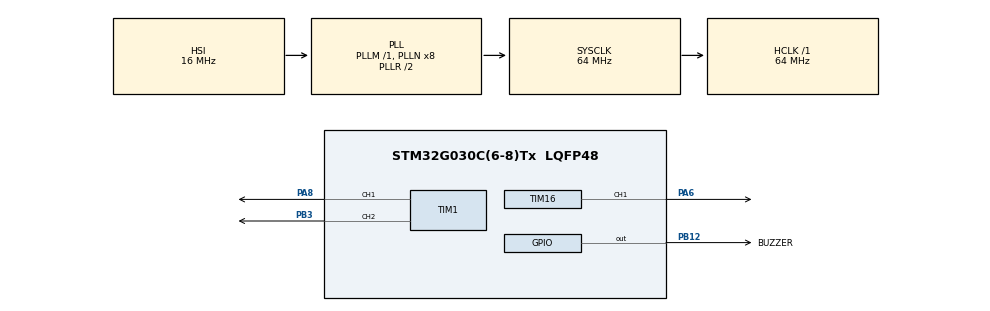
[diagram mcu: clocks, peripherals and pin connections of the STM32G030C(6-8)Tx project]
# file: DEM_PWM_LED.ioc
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Mcu.Family=STM32G0
Mcu.Name=STM32G030C(6-8)Tx
Mcu.Package=LQFP48
PA6.Signal=S_TIM16_CH1
PA8.Signal=S_TIM1_CH1
PB12.GPIO_Label=BUZZER
PB12.Signal=GPIO_Output
PB3.Signal=S_TIM1_CH2
PC14-OSC32_IN\ (PC14).Mode=LSE-External-Oscillator
PC14-OSC32_IN\ (PC14).Signal=RCC_OSC32_IN
PC15-OSC32_OUT\ (PC15).Mode=LSE-External-Oscillator
PC15-OSC32_OUT\ (PC15).Signal=RCC_OSC32_OUT
PF0-OSC_IN\ (PF0).Mode=HSE-External-Oscillator
PF0-OSC_IN\ (PF0).Signal=RCC_OSC_IN
PF1-OSC_OUT\ (PF1).Mode=HSE-External-Oscillator
PF1-OSC_OUT\ (PF1).Signal=RCC_OSC_OUT
ProjectManager.HeapSize=0x200
ProjectManager.StackSize=0x400
ProjectManager.TargetToolchain=STM32CubeIDE
RCC.ADCFreq_Value=64000000
RCC.AHBFreq_Value=64000000
RCC.CortexFreq_Value=64000000
RCC.EXTERNAL_CLOCK_VALUE=12288000
RCC.HCLKFreq_Value=64000000
RCC.HSE_VALUE=8000000
RCC.HSI_VALUE=16000000
RCC.SYSCLKFreq_VALUE=64000000
RCC.SYSCLKSource=RCC_SYSCLKSOURCE_PLLCLK
RCC.VCOOutputFreq_Value=128000000
SH.S_TIM16_CH1.0=TIM16_CH1,PWM Generation1 CH1
SH.S_TIM1_CH1.0=TIM1_CH1,PWM Generation1 CH1
SH.S_TIM1_CH2.0=TIM1_CH2,PWM Generation2 CH2
TIM1.Channel-PWM\ Generation1\ CH1=TIM_CHANNEL_1
TIM1.Channel-PWM\ Generation2\ CH2=TIM_CHANNEL_2
TIM16.Channel=TIM_CHANNEL_1
TIM16.Period=65535
VP_RTC_VS_RTC_Activate.Mode=RTC_Enabled
VP_TIM16_VS_ClockSourceINT.Mode=Enable_Timer
board=custom

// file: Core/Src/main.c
/* USER CODE BEGIN Header */
/**
  ******************************************************************************
  * @file           : main.c
  * @brief          : Main program body
  ******************************************************************************
  * @attention
  *
  * Copyright (c) 2025 STMicroelectronics.
  * All rights reserved.
  *
  * This software is licensed under terms that can be found in the LICENSE file
  * in the root directory of this software component.
  * If no LICENSE file comes with this software, it is provided AS-IS.
  *
  ******************************************************************************
  */
/* USER CODE END Header */
#include "main.h"

/* USER CODE BEGIN PD */
uint32_t colors[50][3] = {
		   {65535, 0, 0},       // Kırmızı
		    {0, 65535, 0},       // Yeşil
		    {0, 0, 65535},       // Mavi
		    {65535, 65535, 0},   // Sarı
		    {65535, 0, 65535},   // Macenta
		    {0, 65535, 65535},   // Camgöbeği (Cyan)
		    {65535, 65535, 65535}, // Beyaz
		    {0, 0, 0},           // Siyah
		    {32768, 32768, 32768}, // Gri
		    {65535, 42405, 0},   // Turuncu
		    {65535, 49215, 51914}, // Pembe
		    {32768, 0, 32768},   // Mor
		    {0, 0, 32768},       // Lacivert
		    {32768, 32768, 0},   // Zeytin Yeşili
		    {16384, 57669, 53456}, // Turkuaz
		    {65535, 55255, 0},   // Altın
		    {49152, 49152, 49152}, // Gümüş
		    {42405, 10794, 10794}, // Kahverengi
		    {32768, 0, 0},       // Bordo
		    {65535, 46774, 49407}, // Açık Pembe
		    {44461, 55512, 58981}, // Açık Mavi
		    {36936, 62258, 36936}, // Açık Yeşil
		    {65535, 65535, 57669}, // Açık Sarı
		    {56797, 40959, 56797}, // Açık Mor
		    {65535, 54613, 47605}, // Açık Turuncu
		    {54003, 54003, 54003}, // Açık Gri
		    {52506, 34181, 16191}, // Açık Kahverengi
		    {44873, 61937, 61937}, // Açık Turkuaz
		    {48059, 36523, 36523}, // Açık Bordo
		    {35723, 0, 0},       // Koyu Kırmızı
		    {0, 25700, 0},       // Koyu Yeşil
		    {0, 0, 35723},       // Koyu Mavi
		    {52428, 52428, 0},   // Koyu Sarı
		    {26112, 13056, 39205}, // Koyu Mor
		    {0, 52851, 53509},   // Koyu Turkuaz
		    {16384, 16384, 16384}, // Koyu Gri
		    {25700, 17039, 8419}, // Koyu Kahverengi
		    {65535, 35723, 0},   // Koyu Turuncu
		    {57717, 21160, 33037}, // Koyu Pembe
		    {28672, 32768, 36864}, // Füme
		    {58981, 58981, 64250}, // Lavanta
		    {53970, 26985, 7697}, // Çikolata
		    {48316, 46517, 27535}, // Haki
		    {45746, 8296, 8296}, // Kiremit
		    {8296, 45746, 8296}, // Orman Yeşili
		    {11272, 45746, 22102}, // Deniz Mavisi
		    {16678, 26985, 58981}, // Kraliyet Mavisi
		    {55255, 5041, 15729}, // Kızıl
		    {63518, 57825, 51657}, // Şampanya
		    {62965, 62965, 56540}  // Bej
};
/* USER CODE END PD */

RTC_HandleTypeDef hrtc;

TIM_HandleTypeDef htim1;
TIM_HandleTypeDef htim16;

void SystemClock_Config(void);
static void MX_GPIO_Init(void);
static void MX_RTC_Init(void);
static void MX_TIM1_Init(void);
static void MX_TIM16_Init(void);

int main(void)
{

  /* MCU Configuration--------------------------------------------------------*/

  /* Reset of all peripherals, Initializes the Flash interface and the Systick. */
  HAL_Init();

  /* Configure the system clock */
  SystemClock_Config();

  /* Initialize all configured peripherals */
  MX_GPIO_Init();
  MX_RTC_Init();
  MX_TIM1_Init();
  MX_TIM16_Init();
  /* USER CODE BEGIN 2 */
  HAL_TIM_PWM_Start(&htim1, TIM_CHANNEL_1);
  HAL_TIM_PWM_Start(&htim16, TIM_CHANNEL_1);
  HAL_TIM_PWM_Start(&htim1, TIM_CHANNEL_2);
  /* USER CODE END 2 */

  /* Infinite loop */
  /* USER CODE BEGIN WHILE */
  while (1)
  {
	  for (int i = 0; i < 50; i++) {
	         uint32_t red = colors[i][0];   // Kırmızı değeri
	         uint32_t green = colors[i][1]; // Yeşil değeri
	         uint32_t blue = colors[i][2];  // Mavi değeri

	         // PWM sinyallerini ayarla
	         __HAL_TIM_SET_COMPARE(&htim16, TIM_CHANNEL_1, red);   // Kırmızı
	         __HAL_TIM_SET_COMPARE(&htim1, TIM_CHANNEL_1, blue);  // Mavi
	         __HAL_TIM_SET_COMPARE(&htim1, TIM_CHANNEL_2, green); // Yeşil

	         // Belirli bir süre bekle (örneğin, 500 ms)
	         HAL_Delay(500);
	     }

    /* USER CODE END WHILE */

  }
}

void SystemClock_Config(void)
{
  RCC_OscInitTypeDef RCC_OscInitStruct = {0};
  RCC_ClkInitTypeDef RCC_ClkInitStruct = {0};

  /** Configure the main internal regulator output voltage
  */
  HAL_PWREx_ControlVoltageScaling(PWR_REGULATOR_VOLTAGE_SCALE1);

  /** Initializes the RCC Oscillators according to the specified parameters
  * in the RCC_OscInitTypeDef structure.
  */
  RCC_OscInitStruct.OscillatorType = RCC_OSCILLATORTYPE_HSI|RCC_OSCILLATORTYPE_LSI;
  RCC_OscInitStruct.HSIState = RCC_HSI_ON;
  RCC_OscInitStruct.HSIDiv = RCC_HSI_DIV1;
  RCC_OscInitStruct.HSICalibrationValue = RCC_HSICALIBRATION_DEFAULT;
  RCC_OscInitStruct.LSIState = RCC_LSI_ON;
  RCC_OscInitStruct.PLL.PLLState = RCC_PLL_ON;
  RCC_OscInitStruct.PLL.PLLSource = RCC_PLLSOURCE_HSI;
  RCC_OscInitStruct.PLL.PLLM = RCC_PLLM_DIV1;
  RCC_OscInitStruct.PLL.PLLN = 8;
  RCC_OscInitStruct.PLL.PLLP = RCC_PLLP_DIV2;
  RCC_OscInitStruct.PLL.PLLR = RCC_PLLR_DIV2;
  if (HAL_RCC_OscConfig(&RCC_OscInitStruct) != HAL_OK)
  {
    Error_Handler();
  }

  /** Initializes the CPU, AHB and APB buses clocks
  */
  RCC_ClkInitStruct.ClockType = RCC_CLOCKTYPE_HCLK|RCC_CLOCKTYPE_SYSCLK
                              |RCC_CLOCKTYPE_PCLK1;
  RCC_ClkInitStruct.SYSCLKSource = RCC_SYSCLKSOURCE_PLLCLK;
  RCC_ClkInitStruct.AHBCLKDivider = RCC_SYSCLK_DIV1;
  RCC_ClkInitStruct.APB1CLKDivider = RCC_HCLK_DIV1;

  if (HAL_RCC_ClockConfig(&RCC_ClkInitStruct, FLASH_LATENCY_2) != HAL_OK)
  {
    Error_Handler();
  }
}

static void MX_RTC_Init(void)
{

  /** Initialize RTC Only
  */
  hrtc.Instance = RTC;
  hrtc.Init.HourFormat = RTC_HOURFORMAT_24;
  hrtc.Init.AsynchPrediv = 127;
  hrtc.Init.SynchPrediv = 255;
  hrtc.Init.OutPut = RTC_OUTPUT_DISABLE;
  hrtc.Init.OutPutRemap = RTC_OUTPUT_REMAP_NONE;
  hrtc.Init.OutPutPolarity = RTC_OUTPUT_POLARITY_HIGH;
  hrtc.Init.OutPutType = RTC_OUTPUT_TYPE_OPENDRAIN;
  hrtc.Init.OutPutPullUp = RTC_OUTPUT_PULLUP_NONE;
  if (HAL_RTC_Init(&hrtc) != HAL_OK)
  {
    Error_Handler();
  }

}

static void MX_TIM1_Init(void)
{

  TIM_MasterConfigTypeDef sMasterConfig = {0};
  TIM_OC_InitTypeDef sConfigOC = {0};
  TIM_BreakDeadTimeConfigTypeDef sBreakDeadTimeConfig = {0};

  htim1.Instance = TIM1;
  htim1.Init.Prescaler = 0;
  htim1.Init.CounterMode = TIM_COUNTERMODE_UP;
  htim1.Init.Period = 65535;
  htim1.Init.ClockDivision = TIM_CLOCKDIVISION_DIV1;
  htim1.Init.RepetitionCounter = 0;
  htim1.Init.AutoReloadPreload = TIM_AUTORELOAD_PRELOAD_DISABLE;
  if (HAL_TIM_PWM_Init(&htim1) != HAL_OK)
  {
    Error_Handler();
  }
  sMasterConfig.MasterOutputTrigger = TIM_TRGO_RESET;
  sMasterConfig.MasterOutputTrigger2 = TIM_TRGO2_RESET;
  sMasterConfig.MasterSlaveMode = TIM_MASTERSLAVEMODE_DISABLE;
  if (HAL_TIMEx_MasterConfigSynchronization(&htim1, &sMasterConfig) != HAL_OK)
  {
    Error_Handler();
  }
  sConfigOC.OCMode = TIM_OCMODE_PWM1;
  sConfigOC.Pulse = 0;
  sConfigOC.OCPolarity = TIM_OCPOLARITY_HIGH;
  sConfigOC.OCNPolarity = TIM_OCNPOLARITY_HIGH;
  sConfigOC.OCFastMode = TIM_OCFAST_DISABLE;
  sConfigOC.OCIdleState = TIM_OCIDLESTATE_RESET;
  sConfigOC.OCNIdleState = TIM_OCNIDLESTATE_RESET;
  if (HAL_TIM_PWM_ConfigChannel(&htim1, &sConfigOC, TIM_CHANNEL_1) != HAL_OK)
  {
    Error_Handler();
  }
  if (HAL_TIM_PWM_ConfigChannel(&htim1, &sConfigOC, TIM_CHANNEL_2) != HAL_OK)
  {
    Error_Handler();
  }
  sBreakDeadTimeConfig.OffStateRunMode = TIM_OSSR_DISABLE;
  sBreakDeadTimeConfig.OffStateIDLEMode = TIM_OSSI_DISABLE;
  sBreakDeadTimeConfig.LockLevel = TIM_LOCKLEVEL_OFF;
  sBreakDeadTimeConfig.DeadTime = 0;
  sBreakDeadTimeConfig.BreakState = TIM_BREAK_DISABLE;
  sBreakDeadTimeConfig.BreakPolarity = TIM_BREAKPOLARITY_HIGH;
  sBreakDeadTimeConfig.BreakFilter = 0;
  sBreakDeadTimeConfig.BreakAFMode = TIM_BREAK_AFMODE_INPUT;
  sBreakDeadTimeConfig.Break2State = TIM_BREAK2_DISABLE;
  sBreakDeadTimeConfig.Break2Polarity = TIM_BREAK2POLARITY_HIGH;
  sBreakDeadTimeConfig.Break2Filter = 0;
  sBreakDeadTimeConfig.Break2AFMode = TIM_BREAK_AFMODE_INPUT;
  sBreakDeadTimeConfig.AutomaticOutput = TIM_AUTOMATICOUTPUT_DISABLE;
  if (HAL_TIMEx_ConfigBreakDeadTime(&htim1, &sBreakDeadTimeConfig) != HAL_OK)
  {
    Error_Handler();
  }
  HAL_TIM_MspPostInit(&htim1);

}

static void MX_TIM16_Init(void)
{

  TIM_OC_InitTypeDef sConfigOC = {0};
  TIM_BreakDeadTimeConfigTypeDef sBreakDeadTimeConfig = {0};

  htim16.Instance = TIM16;
  htim16.Init.Prescaler = 0;
  htim16.Init.CounterMode = TIM_COUNTERMODE_UP;
  htim16.Init.Period = 65535;
  htim16.Init.ClockDivision = TIM_CLOCKDIVISION_DIV1;
  htim16.Init.RepetitionCounter = 0;
  htim16.Init.AutoReloadPreload = TIM_AUTORELOAD_PRELOAD_DISABLE;
  if (HAL_TIM_Base_Init(&htim16) != HAL_OK)
  {
    Error_Handler();
  }
  if (HAL_TIM_PWM_Init(&htim16) != HAL_OK)
  {
    Error_Handler();
  }
  sConfigOC.OCMode = TIM_OCMODE_PWM1;
  sConfigOC.Pulse = 0;
  sConfigOC.OCPolarity = TIM_OCPOLARITY_HIGH;
  sConfigOC.OCNPolarity = TIM_OCNPOLARITY_HIGH;
  sConfigOC.OCFastMode = TIM_OCFAST_DISABLE;
  sConfigOC.OCIdleState = TIM_OCIDLESTATE_RESET;
  sConfigOC.OCNIdleState = TIM_OCNIDLESTATE_RESET;
  if (HAL_TIM_PWM_ConfigChannel(&htim16, &sConfigOC, TIM_CHANNEL_1) != HAL_OK)
  {
    Error_Handler();
  }
  sBreakDeadTimeConfig.OffStateRunMode = TIM_OSSR_DISABLE;
  sBreakDeadTimeConfig.OffStateIDLEMode = TIM_OSSI_DISABLE;
  sBreakDeadTimeConfig.LockLevel = TIM_LOCKLEVEL_OFF;
  sBreakDeadTimeConfig.DeadTime = 0;
  sBreakDeadTimeConfig.BreakState = TIM_BREAK_DISABLE;
  sBreakDeadTimeConfig.BreakPolarity = TIM_BREAKPOLARITY_HIGH;
  sBreakDeadTimeConfig.BreakFilter = 0;
  sBreakDeadTimeConfig.AutomaticOutput = TIM_AUTOMATICOUTPUT_DISABLE;
  if (HAL_TIMEx_ConfigBreakDeadTime(&htim16, &sBreakDeadTimeConfig) != HAL_OK)
  {
    Error_Handler();
  }
  HAL_TIM_MspPostInit(&htim16);

}

static void MX_GPIO_Init(void)
{
  GPIO_InitTypeDef GPIO_InitStruct = {0};

  /* GPIO Ports Clock Enable */
  __HAL_RCC_GPIOC_CLK_ENABLE();
  __HAL_RCC_GPIOF_CLK_ENABLE();
  __HAL_RCC_GPIOA_CLK_ENABLE();
  __HAL_RCC_GPIOB_CLK_ENABLE();

  /*Configure GPIO pin Output Level */
  HAL_GPIO_WritePin(BUZZER_GPIO_Port, BUZZER_Pin, GPIO_PIN_RESET);

  /*Configure GPIO pin : BUZZER_Pin */
  GPIO_InitStruct.Pin = BUZZER_Pin;
  GPIO_InitStruct.Mode = GPIO_MODE_OUTPUT_PP;
  GPIO_InitStruct.Pull = GPIO_NOPULL;
  GPIO_InitStruct.Speed = GPIO_SPEED_FREQ_LOW;
  HAL_GPIO_Init(BUZZER_GPIO_Port, &GPIO_InitStruct);

}

void Error_Handler(void)
{
  __disable_irq();
  while (1)
  {
  }
}
